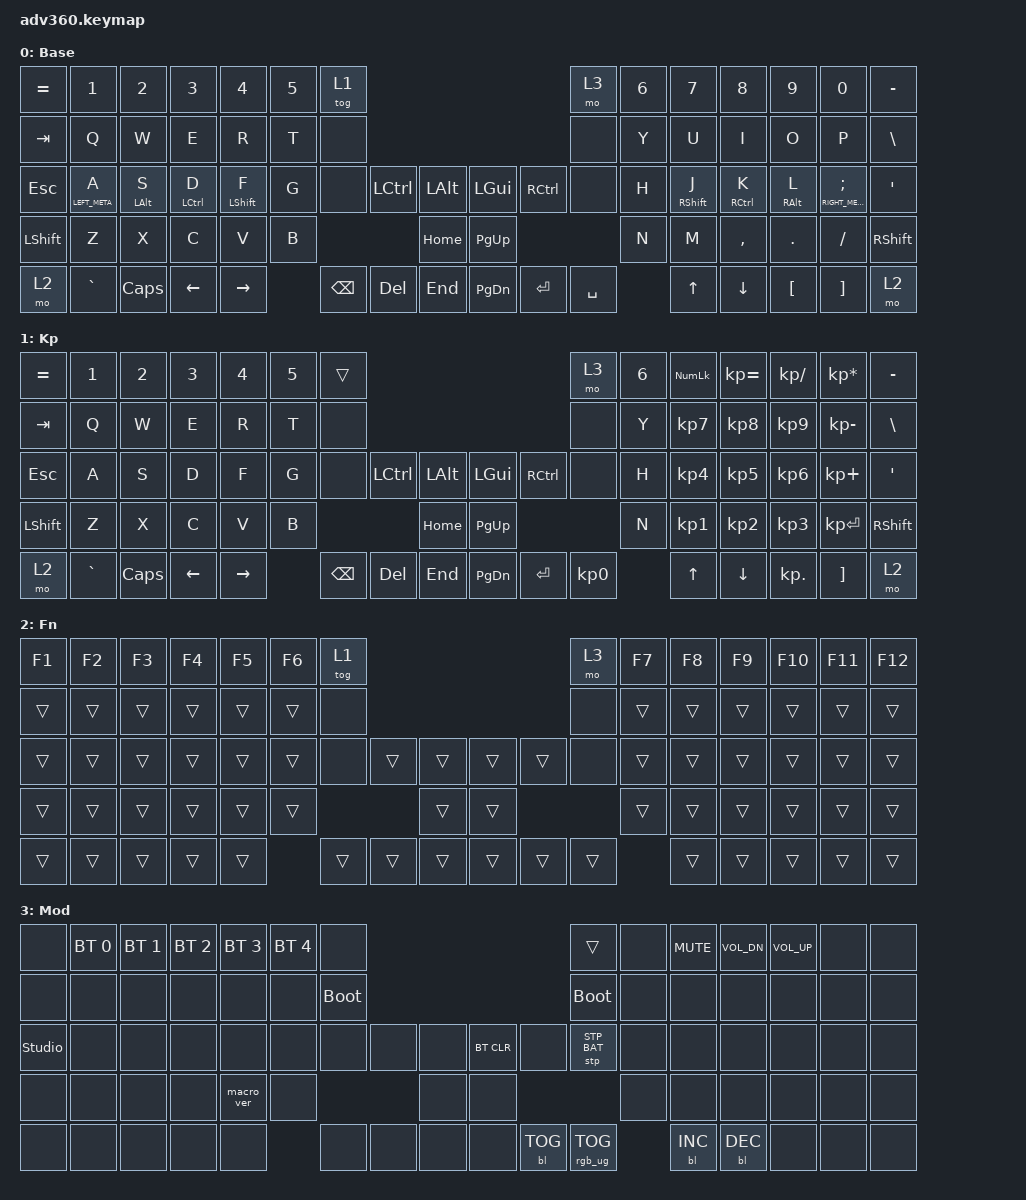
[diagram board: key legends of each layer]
#include <dt-bindings/zmk/stp.h>
#include <behaviors.dtsi>
#include <dt-bindings/zmk/backlight.h>
#include <dt-bindings/zmk/bt.h>
#include <dt-bindings/zmk/keys.h>
#include <dt-bindings/zmk/rgb.h>

/ {
    behaviors {
        #include "macros.dtsi"
      #include "version.dtsi"

        hml: homerow_left {
            compatible = "zmk,behavior-hold-tap";
            label = "HOMEROW_MODS_LEFT";
            #binding-cells = <2>;
            tapping-term-ms = <280>;
            quick_tap_ms = <175>;
            flavor = "balanced";
            bindings = <&kp>, <&kp>;

            hold-trigger-key-positions = <7 8 9 10 11 12 13 21 22 23 24 25 26 27 37 38 39 40 41 42 43 44 45 53 54 55 56 57 58 59 68 69 70 71 72 73 74 75>;
            hold-trigger-on-release;
        };

        hmr: homerow_right {
            compatible = "zmk,behavior-hold-tap";
            label = "HOMEROW_MODS_right";
            #binding-cells = <2>;
            tapping-term-ms = <280>;
            quick_tap_ms = <175>;
            flavor = "balanced";
            bindings = <&kp>, <&kp>;

            hold-trigger-key-positions = <0 1 2 3 4 5 6 14 15 16 17 18 19 20 28 29 30 31 32 33 34 35 46 47 48 49 50 51 60 61 62 63 64 35 52 66 67 35 36 52 65 66 67>;
            hold-trigger-on-release;
        };
    };

    keymap {
        compatible = "zmk,keymap";

        default_layer {
            display-name = "Base";
            bindings = <
&kp EQUAL  &kp N1            &kp N2           &kp N3               &kp N4             &kp N5  &tog 1                                                   &mo 3      &kp N6  &kp N7              &kp N8                &kp N9            &kp N0                &kp MINUS
&kp TAB    &kp Q             &kp W            &kp E                &kp R              &kp T   &none                                                    &none      &kp Y   &kp U               &kp I                 &kp O             &kp P                 &kp BSLH
&kp ESC    &hml LEFT_META A  &hml LEFT_ALT S  &hml LEFT_CONTROL D  &hml LEFT_SHIFT F  &kp G   &none     &kp LCTRL  &kp LALT      &kp LGUI   &kp RCTRL  &none      &kp H   &hmr RIGHT_SHIFT J  &hmr RIGHT_CONTROL K  &hmr RIGHT_ALT L  &hmr RIGHT_META SEMI  &kp SQT
&kp LSHFT  &kp Z             &kp X            &kp C                &kp V              &kp B                        &kp HOME      &kp PG_UP                        &kp N   &kp M               &kp COMMA             &kp DOT           &kp FSLH              &kp RSHFT
&mo 2      &kp GRAVE         &kp CAPS         &kp LEFT             &kp RIGHT                  &kp BSPC  &kp DEL    &kp END       &kp PG_DN  &kp ENTER  &kp SPACE          &kp UP              &kp DOWN              &kp LBKT          &kp RBKT              &mo 2
            >;
        };

        keypad {
            display-name = "Kp";
            bindings = <
&kp EQUAL  &kp N1     &kp N2    &kp N3    &kp N4     &kp N5  &trans                                                   &mo 3      &kp N6  &kp KP_NUM  &kp KP_EQUAL  &kp KP_DIVIDE  &kp KP_MULTIPLY  &kp MINUS
&kp TAB    &kp Q      &kp W     &kp E     &kp R      &kp T   &none                                                    &none      &kp Y   &kp KP_N7   &kp KP_N8     &kp KP_N9      &kp KP_MINUS     &kp BSLH
&kp ESC    &kp A      &kp S     &kp D     &kp F      &kp G   &none     &kp LCTRL  &kp LALT      &kp LGUI   &kp RCTRL  &none      &kp H   &kp KP_N4   &kp KP_N5     &kp KP_N6      &kp KP_PLUS      &kp SQT
&kp LSHFT  &kp Z      &kp X     &kp C     &kp V      &kp B                        &kp HOME      &kp PG_UP                        &kp N   &kp KP_N1   &kp KP_N2     &kp KP_N3      &kp KP_ENTER     &kp RSHFT
&mo 2      &kp GRAVE  &kp CAPS  &kp LEFT  &kp RIGHT          &kp BSPC  &kp DEL    &kp END       &kp PG_DN  &kp ENTER  &kp KP_N0          &kp UP      &kp DOWN      &kp KP_DOT     &kp RBKT         &mo 2
            >;
        };

        fn {
            display-name = "Fn";
            bindings = <
&kp F1  &kp F2  &kp F3  &kp F4  &kp F5  &kp F6  &tog 1                                      &mo 3   &kp F7  &kp F8  &kp F9  &kp F10  &kp F11  &kp F12
&trans  &trans  &trans  &trans  &trans  &trans  &none                                       &none   &trans  &trans  &trans  &trans   &trans   &trans
&trans  &trans  &trans  &trans  &trans  &trans  &none   &trans  &trans      &trans  &trans  &none   &trans  &trans  &trans  &trans   &trans   &trans
&trans  &trans  &trans  &trans  &trans  &trans                  &trans      &trans                  &trans  &trans  &trans  &trans   &trans   &trans
&trans  &trans  &trans  &trans  &trans          &trans  &trans  &trans      &trans  &trans  &trans          &trans  &trans  &trans   &trans   &trans
            >;
        };

        mod {
            display-name = "Mod";
            bindings = <
&none           &bt BT_SEL 0  &bt BT_SEL 1  &bt BT_SEL 2  &bt BT_SEL 3  &bt BT_SEL 4  &none                                                  &trans           &none  &kp K_MUTE  &kp C_VOL_DN  &kp C_VOLUME_UP  &none  &none
&none           &none         &none         &none         &none         &none         &bootloader                                            &bootloader      &none  &none       &none         &none            &none  &none
&studio_unlock  &none         &none         &none         &none         &none         &none        &none  &none      &bt BT_CLR  &none       &stp STP_BAT     &none  &none       &none         &none            &none  &none
&none           &none         &none         &none         &macro_ver    &none                             &none      &none                                    &none  &none       &none         &none            &none  &none
&none           &none         &none         &none         &none                       &none        &none  &none      &none       &bl BL_TOG  &rgb_ug RGB_TOG         &bl BL_INC  &bl BL_DEC    &none            &none  &none
            >;
        };

        extra1 {
            display-name = "Red";
            status = "reserved";
        };

        extra2 {
            display-name = "Purple";
            status = "reserved";
        };

        extra3 {
            display-name = "Cyan";
            status = "reserved";
        };

        extra4 {
            display-name = "Yellow";
            status = "reserved";
        };
    };
};
